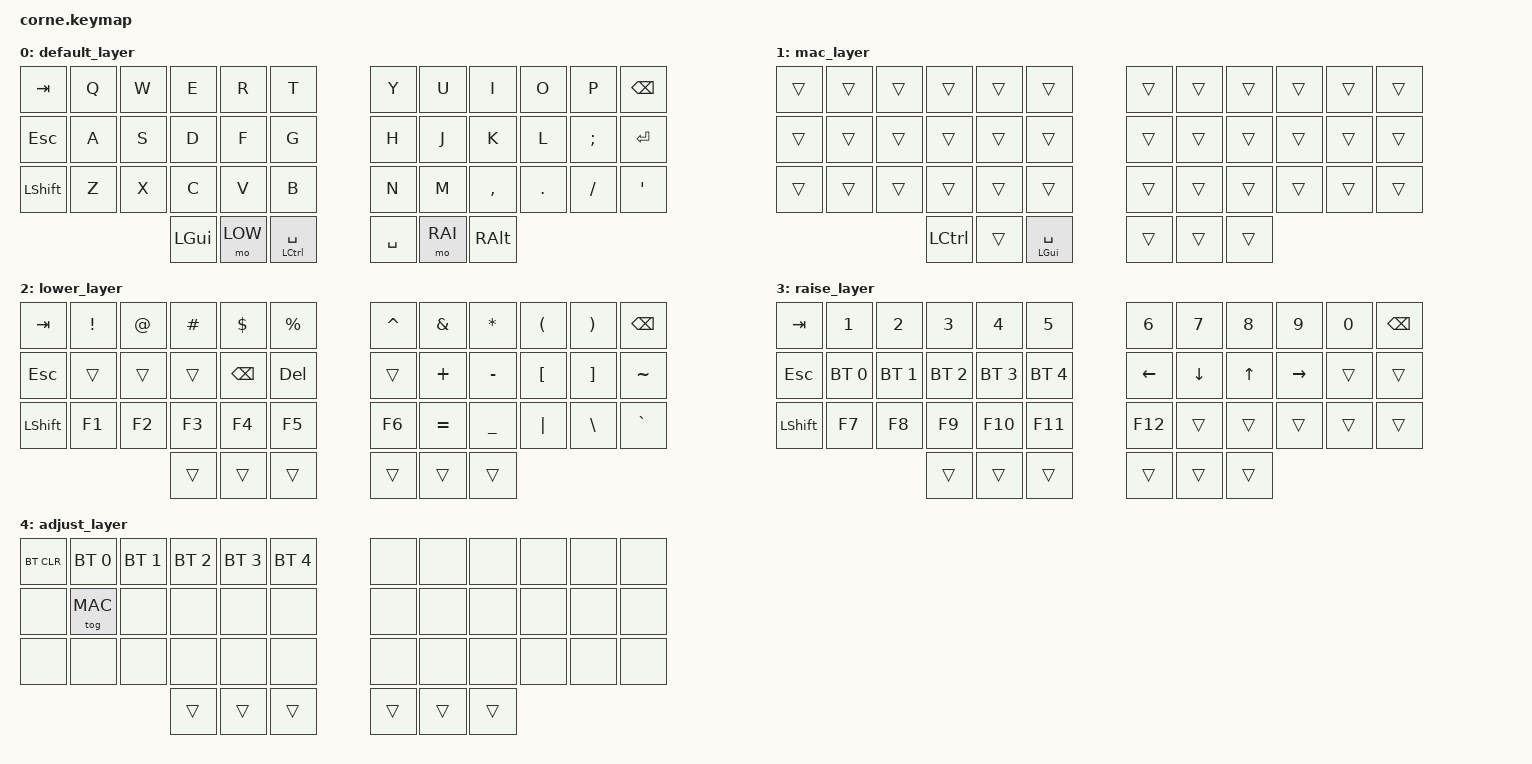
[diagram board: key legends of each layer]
#include <behaviors.dtsi>
#include <dt-bindings/zmk/keys.h>
#include <dt-bindings/zmk/bt.h>

#define DEF 0
#define MAC 1
#define LOW 2
#define RAI 3
#define ADJ 4
/ {
	conditional_layers {
				compatible = "zmk,conditional-layers";
				tri_layer {
					if-layers = <LOW RAI>;
					then-layer = <ADJ>;
				};
			};
	keymap {
		compatible = "zmk,keymap";                	
		default_layer {
			// -----------------------------------------------------------------------------------------
			// | TAB  |  Q  |  W  |  E  |  R  |  T  |   |  Y  |  U   |  I  |  O  |  P  | BKSP |
			// | ESC  |  A  |  S  |  D  |  F  |  G  |   |  H  |  J   |  K  |  L  |  ;  | RET  |
			// | SHFT |  Z  |  X  |  C  |  V  |  B  |   |  N  |  M   |  ,  |  .  |  /  |  '   |
			//                    | GUI | LWR | CTRL|   | SPC | RSE  | ALT |
			bindings = <
			&kp TAB   &kp Q &kp W &kp E &kp R &kp T         &kp Y &kp U  &kp I     &kp O   &kp P    &kp BSPC
			&kp ESC   &kp A &kp S &kp D &kp F &kp G         &kp H &kp J  &kp K     &kp L   &kp SEMI &kp RET
			&kp LSHFT &kp Z &kp X &kp C &kp V &kp B         &kp N &kp M  &kp COMMA &kp DOT &kp FSLH &kp SQT
			                &kp LGUI &mo LOW &mt LCTRL SPACE  &kp SPACE &mo RAI &kp RALT
			>;
		};
		mac_layer {
            // -----------------------------------------------------------------------------------------
			// |  TAB |  1  |  2  |  3  |  4  |  5  |   |  6  |  7  |  8  |  9  |  0  | BKSP |
			// | BTCLR| BT1 | BT2 | BT3 | BT4 | BT5 |   | LFT | DWN |  UP | RGT |     |      |
			// | SHFT |     |     |     |     |     |   |     |     |     |     |     |      |
			//                    | GUI |     | SPC |   | ENT |     | ALT |
			bindings = <
			&trans &trans  &trans  &trans  &trans  &trans  		&trans &trans  &trans  &trans  &trans  &trans
			&trans &trans  &trans  &trans  &trans  &trans  		&trans &trans  &trans  &trans  &trans  &trans
			&trans &trans  &trans  &trans  &trans  &trans  		&trans &trans  &trans  &trans  &trans  &trans
			               &kp LCTRL &trans &mt LGUI SPACE 		&trans &trans  &trans
			>;
        };	
		lower_layer {
			// -----------------------------------------------------------------------------------------
			// | TAB  |  !  |  @  |  #  |  $  |  %  |   |  ^  |  &  |  *  |  (  |  )  | BKSP |
			// | ESC  |     |     |     | BKSP| DEL |   |     |  +  |  -  |  [  |  ]  |  `   |
			// | SHFT |  F1 |  F2 |  F3 |  F4 |  F5 |   |  F6 |  =  |  _  |  |  | \   |  ~   |
			//                    | GUI |     | CTRL|   | ENT |     | ALT |
			bindings = <
			&kp TAB   &kp EXCL &kp AT &kp HASH &kp DLLR &kp PRCNT   &kp CARET  &kp AMPS  &kp ASTRK &kp LPAR &kp RPAR &kp BSPC
			&kp ESC   &trans   &trans &trans   &kp BSPC &kp DEL     &trans     &kp PLUS  &kp MINUS &kp LBKT &kp RBKT &kp TILDE
			&kp LSHFT &kp F1   &kp F2 &kp F3   &kp F4   &kp F5      &kp F6     &kp EQUAL &kp UNDER &kp PIPE &kp BSLH &kp GRAVE
			                          &trans   &trans   &trans      &trans     &trans    &trans
			>;
		};
		
		raise_layer {
			// -----------------------------------------------------------------------------------------
			// | TAB  |  1  |  2  |  3  |  4  |  5  |   |  6  |  7  |  8  |  9  |  0  | BKSP |
			// | ESC  |     |     |     |     |     |   | LFT | DWN |  UP | RGT |     |      |
			// | SHFT |  F7 |  F8 |  F9 | F10 | F11 |   | F12 |     |     |     |     |      |
			//                    | GUI |     | SPC |   | ENT |     | ALT |
			bindings = <
			&kp TAB    &kp N1       &kp N2       &kp N3       &kp N4       &kp N5         &kp N6   &kp N7   &kp N8 &kp N9    &kp N0 &kp BSPC
			&kp ESC    &bt BT_SEL 0 &bt BT_SEL 1 &bt BT_SEL 2 &bt BT_SEL 3 &bt BT_SEL 4   &kp LEFT &kp DOWN &kp UP &kp RIGHT &trans &trans
			&kp LSHFT  &kp F7   	&kp F8 		 &kp F9       &kp F10      &kp F11        &kp F12  &trans   &trans &trans    &trans &trans
			                                     &trans       &trans       &trans         &trans   &trans   &trans
			>;
		};
        adjust_layer {
            // -----------------------------------------------------------------------------------------
			// |  TAB |  1  |  2  |  3  |  4  |  5  |   |  6  |  7  |  8  |  9  |  0  | BKSP |
			// | BTCLR| BT1 | BT2 | BT3 | BT4 | BT5 |   | LFT | DWN |  UP | RGT |     |      |
			// | SHFT |     |     |     |     |     |   |     |     |     |     |     |      |
			//                    | GUI |     | SPC |   | ENT |     | ALT |
			bindings = <
			&bt BT_CLR &bt BT_SEL 0 &bt BT_SEL 1 &bt BT_SEL 2 &bt BT_SEL 3 &bt BT_SEL 4  &none &none &none &none &none &none
			&none      &tog MAC     &none        &none        &none        &none         &none &none &none &none &none &none
			&none      &none        &none        &none        &none        &none   	     &none &none &none &none &none &none 
			                         			 &trans       &trans       &trans        &trans &trans &trans 
			>;
        };		
	};
};
